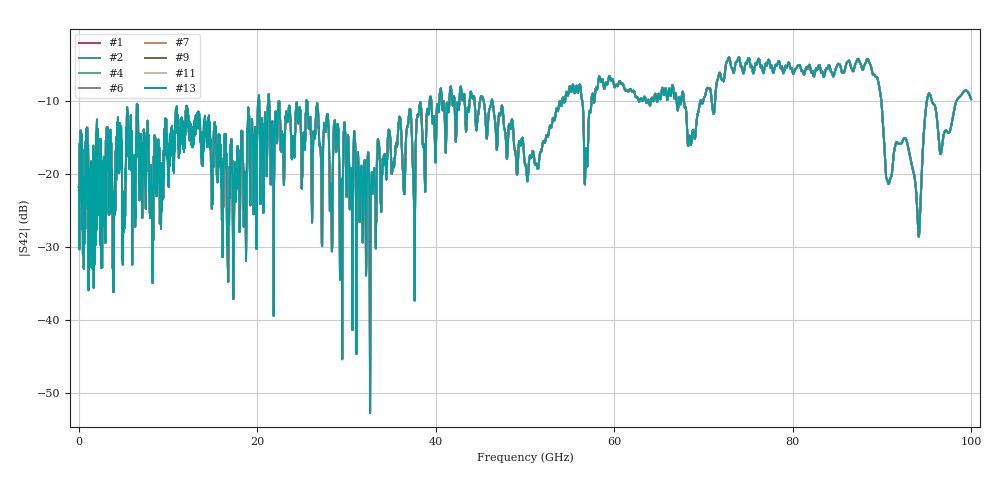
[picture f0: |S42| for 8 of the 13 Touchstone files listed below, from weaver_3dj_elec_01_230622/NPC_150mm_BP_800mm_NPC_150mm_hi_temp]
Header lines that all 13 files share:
# GHz S RI R 45
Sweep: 25 MHz to 100 GHz
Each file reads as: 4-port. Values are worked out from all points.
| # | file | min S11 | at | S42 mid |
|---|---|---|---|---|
| 1 | KR_ch_3in_PCB_80C_NPC_150mm_29AWG_70C_BP_800mm_27AWG_70C_NPC_150mm_29AWG_70C_FEXT1.s4p | -49.4 dB | 71.78 GHz | -18.8 dB at 50.02 GHz |
| 2 | KR_ch_3in_PCB_80C_NPC_150mm_29AWG_70C_BP_800mm_27AWG_70C_NPC_150mm_29AWG_70C_FEXT2.s4p | -57.1 dB | 21.6 GHz | -18.8 dB at 50.02 GHz |
| 3 | KR_ch_3in_PCB_80C_NPC_150mm_29AWG_70C_BP_800mm_27AWG_70C_NPC_150mm_29AWG_70C_FEXT3.s4p | -48.8 dB | 33.85 GHz | -18.8 dB at 50.02 GHz |
| 4 | KR_ch_3in_PCB_80C_NPC_150mm_29AWG_70C_BP_800mm_27AWG_70C_NPC_150mm_29AWG_70C_FEXT4.s4p | -51.2 dB | 20.2 GHz | -18.8 dB at 50.02 GHz |
| 5 | KR_ch_3in_PCB_80C_NPC_150mm_29AWG_70C_BP_800mm_27AWG_70C_NPC_150mm_29AWG_70C_FEXT5.s4p | -49.1 dB | 1.225 GHz | -18.8 dB at 50.02 GHz |
| 6 | KR_ch_3in_PCB_80C_NPC_150mm_29AWG_70C_BP_800mm_27AWG_70C_NPC_150mm_29AWG_70C_FEXT6.s4p | -49.3 dB | 9.225 GHz | -18.8 dB at 50.02 GHz |
| 7 | KR_ch_3in_PCB_80C_NPC_150mm_29AWG_70C_BP_800mm_27AWG_70C_NPC_150mm_29AWG_70C_NEXT1.s4p | -51.6 dB | 71.78 GHz | -18.8 dB at 50.02 GHz |
| 8 | KR_ch_3in_PCB_80C_NPC_150mm_29AWG_70C_BP_800mm_27AWG_70C_NPC_150mm_29AWG_70C_NEXT2.s4p | -48.4 dB | 21.6 GHz | -18.8 dB at 50.02 GHz |
| 9 | KR_ch_3in_PCB_80C_NPC_150mm_29AWG_70C_BP_800mm_27AWG_70C_NPC_150mm_29AWG_70C_NEXT3.s4p | -46.2 dB | 33.88 GHz | -18.8 dB at 50.02 GHz |
| 10 | KR_ch_3in_PCB_80C_NPC_150mm_29AWG_70C_BP_800mm_27AWG_70C_NPC_150mm_29AWG_70C_NEXT4.s4p | -49.7 dB | 20.2 GHz | -18.8 dB at 50.02 GHz |
| 11 | KR_ch_3in_PCB_80C_NPC_150mm_29AWG_70C_BP_800mm_27AWG_70C_NPC_150mm_29AWG_70C_NEXT5.s4p | -49.2 dB | 1.225 GHz | -18.8 dB at 50.02 GHz |
| 12 | KR_ch_3in_PCB_80C_NPC_150mm_29AWG_70C_BP_800mm_27AWG_70C_NPC_150mm_29AWG_70C_NEXT6.s4p | -53.2 dB | 17.3 GHz | -18.8 dB at 50.02 GHz |
| 13 | KR_ch_3in_PCB_80C_NPC_150mm_29AWG_70C_BP_800mm_27AWG_70C_NPC_150mm_29AWG_70C_thru.s4p | -53.4 dB | 1.225 GHz | -18.8 dB at 50.02 GHz |
